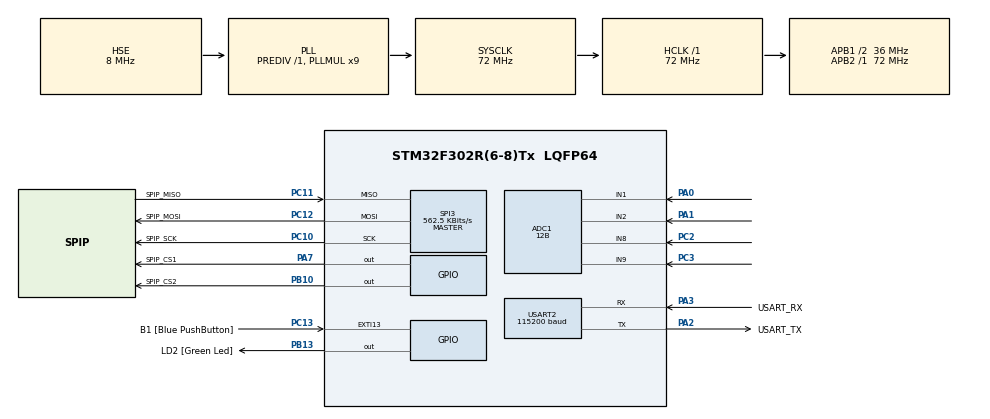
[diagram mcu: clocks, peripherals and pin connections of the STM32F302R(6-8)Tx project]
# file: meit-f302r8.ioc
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ADC1.Channel-6\#ChannelRegularConversion=ADC_CHANNEL_1
ADC1.Channel-7\#ChannelRegularConversion=ADC_CHANNEL_8
ADC1.ClockPrescaler=ADC_CLOCK_ASYNC_DIV1
ADC1.ContinuousConvMode=DISABLE
ADC1.DMAContinuousRequests=ENABLE
ADC1.EOCSelection=ADC_EOC_SINGLE_CONV
ADC1.EnableInjectedConversion=DISABLE
ADC1.EnableRegularConversion=ENABLE
ADC1.ExternalTrigConv=ADC_EXTERNALTRIGCONV_T6_TRGO
ADC1.ExternalTrigConvEdge=ADC_EXTERNALTRIGCONVEDGE_RISING
ADC1.NbrOfConversion=2
ADC1.NbrOfConversionFlag=1
ADC1.Offset-6\#ChannelRegularConversion=0
ADC1.Offset-7\#ChannelRegularConversion=0
ADC1.OffsetNumber-6\#ChannelRegularConversion=ADC_OFFSET_NONE
ADC1.OffsetNumber-7\#ChannelRegularConversion=ADC_OFFSET_NONE
ADC1.Overrun=ADC_OVR_DATA_PRESERVED
ADC1.Rank-6\#ChannelRegularConversion=1
ADC1.Rank-7\#ChannelRegularConversion=2
ADC1.Rank1_Channel=ADC_CHANNEL_1
ADC1.Resolution=ADC_RESOLUTION_12B
ADC1.SamplingTime-6\#ChannelRegularConversion=ADC_SAMPLETIME_1CYCLE_5
ADC1.SamplingTime-7\#ChannelRegularConversion=ADC_SAMPLETIME_1CYCLE_5
ADC1.SamplingTimeOPAMP-7\#ChannelRegularConversion=ADC_SAMPLETIME_61CYCLES_5
ADC1.SequencerNbRanks=2
ADC1.SingleDiff-6\#ChannelRegularConversion=ADC_DIFFERENTIAL_ENDED
ADC1.SingleDiff-7\#ChannelRegularConversion=ADC_DIFFERENTIAL_ENDED
ADC1.SubFamily=STM32F302x8
ADC1.master=1
Dma.ADC1.1.Direction=DMA_PERIPH_TO_MEMORY
Dma.ADC1.1.Instance=DMA1_Channel1
Dma.ADC1.1.MemDataAlignment=DMA_MDATAALIGN_WORD
Dma.ADC1.1.MemInc=DMA_MINC_ENABLE
Dma.ADC1.1.Mode=DMA_CIRCULAR
Dma.ADC1.1.PeriphDataAlignment=DMA_PDATAALIGN_HALFWORD
Dma.ADC1.1.PeriphInc=DMA_PINC_DISABLE
Dma.ADC1.1.Priority=DMA_PRIORITY_LOW
Dma.Request0=USART2_RX
Dma.Request1=ADC1
Dma.USART2_RX.0.Direction=DMA_PERIPH_TO_MEMORY
Dma.USART2_RX.0.Instance=DMA1_Channel6
Dma.USART2_RX.0.MemDataAlignment=DMA_MDATAALIGN_BYTE
Dma.USART2_RX.0.MemInc=DMA_MINC_ENABLE
Dma.USART2_RX.0.Mode=DMA_NORMAL
Dma.USART2_RX.0.PeriphDataAlignment=DMA_PDATAALIGN_BYTE
Dma.USART2_RX.0.PeriphInc=DMA_PINC_DISABLE
Dma.USART2_RX.0.Priority=DMA_PRIORITY_LOW
Mcu.Family=STM32F3
Mcu.Name=STM32F302R(6-8)Tx
Mcu.Package=LQFP64
NVIC.DMA1_Channel1_IRQn=true\:0\:0\:false\:false\:true\:false\:true\:true
NVIC.DMA1_Channel6_IRQn=true\:0\:0\:false\:false\:true\:false\:true\:true
NVIC.PriorityGroup=NVIC_PRIORITYGROUP_0
NVIC.USART2_IRQn=true\:0\:0\:false\:false\:true\:true\:true\:true
PA0.Mode=IN1-Differential
PA0.Signal=ADC1_IN1
PA1.Mode=IN1-Differential
PA1.Signal=ADC1_IN2
PA13.GPIO_Label=TMS
PA13.Mode=Serial_Wire
PA13.Signal=SYS_JTMS-SWDIO
PA14.GPIO_Label=TCK
PA14.Mode=Serial_Wire
PA14.Signal=SYS_JTCK-SWCLK
PA2.GPIO_Label=USART_TX
PA2.GPIO_Mode=GPIO_MODE_AF_PP
PA2.GPIO_PuPd=GPIO_NOPULL
PA2.GPIO_Speed=GPIO_SPEED_FREQ_LOW
PA2.Mode=Asynchronous
PA2.Signal=USART2_TX
PA3.GPIO_Label=USART_RX
PA3.GPIO_Mode=GPIO_MODE_AF_PP
PA3.GPIO_PuPd=GPIO_NOPULL
PA3.GPIO_Speed=GPIO_SPEED_FREQ_LOW
PA3.Mode=Asynchronous
PA3.Signal=USART2_RX
PA7.GPIO_Label=SPIP_CS1
PA7.Signal=GPIO_Output
PB10.GPIO_Label=SPIP_CS2
PB10.Signal=GPIO_Output
PB13.GPIO_Label=LD2 [Green Led]
PB13.Signal=GPIO_Output
PB3.GPIO_Label=SWO
PB3.Mode=Trace_Asynchronous_SW
PB3.Signal=SYS_JTDO-TRACESWO
PC10.GPIO_Label=SPIP_SCK
PC10.Mode=Full_Duplex_Master
PC10.Signal=SPI3_SCK
PC11.GPIO_Label=SPIP_MISO
PC11.Mode=Full_Duplex_Master
PC11.Signal=SPI3_MISO
PC12.GPIO_Label=SPIP_MOSI
PC12.Mode=Full_Duplex_Master
PC12.Signal=SPI3_MOSI
PC13.GPIO_Label=B1 [Blue PushButton]
PC13.GPIO_ModeDefaultEXTI=GPIO_MODE_IT_FALLING
PC13.Signal=GPXTI13
PC14\ -\ OSC32_IN.Mode=LSE-External-Oscillator
PC14\ -\ OSC32_IN.Signal=RCC_OSC32_IN
PC15\ -\ OSC32_OUT.Mode=LSE-External-Oscillator
PC15\ -\ OSC32_OUT.Signal=RCC_OSC32_OUT
PC2.Signal=ADCx_IN8
PC3.Signal=ADCx_IN9
PF0-OSC_IN.Mode=HSE-External-Clock-Source
PF0-OSC_IN.Signal=RCC_OSC_IN
PF1-OSC_OUT.Signal=RCC_OSC_OUT
ProjectManager.HeapSize=0x200
ProjectManager.StackSize=0x400
ProjectManager.TargetToolchain=Makefile
RCC.AHBFreq_Value=72000000
RCC.APB1CLKDivider=RCC_HCLK_DIV2
RCC.APB1Freq_Value=36000000
RCC.APB1TimFreq_Value=72000000
RCC.APB2Freq_Value=72000000
RCC.APB2TimFreq_Value=72000000
RCC.CortexFreq_Value=72000000
RCC.HCLKFreq_Value=72000000
RCC.HSE_VALUE=8000000
RCC.HSI_VALUE=8000000
RCC.PLLM=8
RCC.PLLMUL=RCC_PLL_MUL9
RCC.PLLN=336
RCC.PLLP=RCC_PLLP_DIV4
RCC.PLLQ=7
RCC.PLLSourceVirtual=RCC_PLLSOURCE_HSE
RCC.SYSCLKFreq_VALUE=72000000
RCC.SYSCLKSourceVirtual=RCC_SYSCLKSOURCE_PLLCLK
RCC.USBFreq_Value=72000000
SH.ADCx_IN8.0=ADC1_IN8,IN8-Differential
SH.ADCx_IN9.0=ADC1_IN9,IN8-Differential
SPI3.BaudRatePrescaler=SPI_BAUDRATEPRESCALER_64
SPI3.CLKPhase=SPI_PHASE_1EDGE
SPI3.CLKPolarity=SPI_POLARITY_HIGH
SPI3.CalculateBaudRate=562.5 KBits/s
SPI3.DataSize=SPI_DATASIZE_8BIT
SPI3.Direction=SPI_DIRECTION_2LINES
SPI3.Mode=SPI_MODE_MASTER
SPI3.NSSPMode=SPI_NSS_PULSE_DISABLE
SPI3.VirtualType=VM_MASTER
TIM6.AutoReloadPreload=TIM_AUTORELOAD_PRELOAD_ENABLE
TIM6.Period=28 - 1
TIM6.Prescaler=0
TIM6.TIM_MasterOutputTrigger=TIM_TRGO_UPDATE
USART2.BaudRate=115200
USART2.VirtualMode-Asynchronous=VM_ASYNC
VP_TIM6_VS_ClockSourceINT.Mode=Enable_Timer
board=NUCLEO-F302R8

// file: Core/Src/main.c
/* USER CODE BEGIN Header */
/**
  ******************************************************************************
  * @file           : main.c
  * @brief          : Main program body
  ******************************************************************************
  * @attention
  *
  * Copyright (c) 2024 STMicroelectronics.
  * All rights reserved.
  *
  * This software is licensed under terms that can be found in the LICENSE file
  * in the root directory of this software component.
  * If no LICENSE file comes with this software, it is provided AS-IS.
  *
  ******************************************************************************
  */
/* USER CODE END Header */
#include "main.h"
#include "adc.h"
#include "dma.h"
#include "spi.h"
#include "tim.h"
#include "usart.h"
#include "gpio.h"

/* USER CODE BEGIN Includes */
#include <string.h>
#include <stdio.h>
#include <stdlib.h>

#include "config.h"
#include "meit.h"
#include "mux.h"
#include "probe.h"
/* USER CODE END Includes */

/* USER CODE BEGIN PTD */
typedef enum
{
  TERM_CMD_NONE,
  TERM_CMD_UNKNOWN,

  TERM_CMD_SET,
  TERM_CMD_GET,

  TERM_CMD_FSAMPLING,

  TERM_CMD_MEASUREMENT,
  TERM_CMD_NEGATIVE,
  TERM_CMD_POSITIVE,
  TERM_CMD_REFERENCE,

  TERM_CMD_GAIN,
  TERM_CMD_INCREASE,
  TERM_CMD_DECREASE,

  TERM_CMD_CALIBRATION,
} TermCommand_Type;

typedef volatile struct
{
  TermCommand_Type action;    // GET or SET
  TermCommand_Type subject;   // The specific command
  // Optional argument, used for commands that require a numerical parameter
  uint32_t arg1;
  uint32_t arg2;
} TermHandlerFlag_Type;
/* USER CODE END PTD */

/* USER CODE BEGIN PD */
#define ADC_BUFFER_SIZE 1000
#define UART_RX_BUFFER_SIZE 40
#define PROBES_N 1
/* USER CODE END PD */

/* USER CODE BEGIN PV */
// main flags definition
// type should be volatile as they are accessed in interrupt callbacks
volatile uint32_t adc_buffer[ADC_BUFFER_SIZE];
volatile uint8_t adc_complete_flag = 0;

volatile uint8_t uart_buffer[UART_RX_BUFFER_SIZE];
TermHandlerFlag_Type term_handler_flag = {TERM_CMD_NONE, TERM_CMD_NONE, 0};

// meit modules declaration
Mux_TypeDef mux1;
Probe_TypeDef probes[PROBES_N];

// trecking currenty selected probe/probe with MEASUREMENT mode
extern int probe_mode_numbers[];

/* USER CODE END PV */

void SystemClock_Config(void);
/* USER CODE BEGIN PFP */
#ifdef LOG_SEMIHOSTING
extern void initialise_monitor_handles(void);
#endif

HAL_StatusTypeDef adc_read(void);
/* USER CODE END PFP */

int main(void)
{

  /* USER CODE BEGIN 1 */
#ifdef LOG_SEMIHOSTING
  // semihosting init
  initialise_monitor_handles();
#endif
  log("__________ System initializing... __________\n");
  /* USER CODE END 1 */

  /* MCU Configuration--------------------------------------------------------*/

  /* Reset of all peripherals, Initializes the Flash interface and the Systick. */
  HAL_Init();

  /* Configure the system clock */
  SystemClock_Config();

  /* Initialize all configured peripherals */
  MX_GPIO_Init();
  MX_DMA_Init();
  MX_SPI3_Init();
  MX_ADC1_Init();
  MX_USART2_UART_Init();
  MX_TIM6_Init();
  /* USER CODE BEGIN 2 */

  // multiplexer module initialization
  mux_init(&mux1, 0);
  // mux_select(&mux1, PROBE_MODE_MEASUREMENT, 0, PROBE_MODE_RESET);

  // probe initialization
  for (size_t i = 0; i < (sizeof(probes) / sizeof(probes[0])); i++)
  {
    probe_init(&probes[i], &hspi3, &mux1, i);
    // probe_error_print(&probes[i]);
  }

  // start the uart interface
  HAL_UARTEx_ReceiveToIdle_DMA(&huart2, (uint8_t *)uart_buffer, UART_RX_BUFFER_SIZE);
  HAL_TIM_Base_Start_IT(&htim6);

  // DEBUG
  probe_mode(&probes[0], PROBE_MODE_MEASUREMENT, PROBE_MODE_SET);
  // probe_gain_specific(&probes[0], PROBE_GAINSET_1, PROBE_RANGESET_20V);
  probe_gain(&probes[0], 14);

  log("__________ System initialized __________\n");
  /* USER CODE END 2 */

  /* Infinite loop */
  /* USER CODE BEGIN WHILE */
  while (1)
  {
    if (term_handler_flag.action != TERM_CMD_NONE)
    {
      // Buffer to hold each formatted adc value plus comma and possible null-terminator
      char txBuffer[UART_RX_BUFFER_SIZE];

      switch (term_handler_flag.action)
      {
        case TERM_CMD_SET:
          switch (term_handler_flag.subject)
          {
            case TERM_CMD_FSAMPLING:
              log("UART INPUT: SET FSAMPLING %ld\r\n", term_handler_flag.arg1);
              HAL_TIM_Base_Stop(&htim6);
              htim6.Instance->PSC = term_handler_flag.arg1;
            break;

            case TERM_CMD_MEASUREMENT:
              log("UART INPUT: SET MEASUREMENT\r\n");
              if (term_handler_flag.arg1 <= PROBES_N)
                probe_mode(&probes[term_handler_flag.arg1], PROBE_MODE_MEASUREMENT, PROBE_MODE_SET);
              else
                log("ERROR: Probe with number:%ld is out of reach\r\n", term_handler_flag.arg1);
            break;

            case TERM_CMD_NEGATIVE:
              log("UART INPUT: SET NEGATIVE\r\n");
              if (term_handler_flag.arg1 <= PROBES_N)
                probe_mode(&probes[term_handler_flag.arg1], PROBE_MODE_CURRENT_NEGATIVE, PROBE_MODE_SET);
              else
                log("ERROR: Probe with number:%ld is out of reach\r\n", term_handler_flag.arg1);
            break;

            case TERM_CMD_POSITIVE:
              log("UART INPUT: SET POSITIVE\r\n");
              if (term_handler_flag.arg1 <= PROBES_N)
                probe_mode(&probes[term_handler_flag.arg1], PROBE_MODE_CURRENT_POSITIVE, PROBE_MODE_SET);
              else
                log("ERROR: Probe with number:%ld is out of reach\r\n", term_handler_flag.arg1);
            break;

            case TERM_CMD_REFERENCE:
              log("UART INPUT: SET REFERENCE\r\n");
              if (term_handler_flag.arg1 <= PROBES_N)
                probe_mode(&probes[term_handler_flag.arg1], PROBE_MODE_REFERENCE, PROBE_MODE_SET);
              else
                log("ERROR: Probe with number:%ld is out of reach\r\n", term_handler_flag.arg1);
            break;

            case TERM_CMD_GAIN:
              log("UART INPUT: SET GAIN\r\n");
              if(probe_mode_numbers[PROBE_MODE_MEASUREMENT] < 0)
                log("ERROR: No probe in MEASUREMENT mode.\r\n");
              else
                probe_gain(&probes[probe_mode_numbers[PROBE_MODE_MEASUREMENT]], term_handler_flag.arg1);
            break;

            case TERM_CMD_INCREASE:
              log("UART INPUT: SET INCREASE\r\n");
              if(probe_mode_numbers[PROBE_MODE_MEASUREMENT] < 0)
                log("ERROR: No probe in MEASUREMENT mode.\r\n");
              else
                probe_gain_increase(&probes[probe_mode_numbers[PROBE_MODE_MEASUREMENT]]);
            break;

            case TERM_CMD_DECREASE:
              log("UART INPUT: SET DECREASE\r\n");
              if(probe_mode_numbers[PROBE_MODE_MEASUREMENT] < 0)
                log("ERROR: No probe in MEASUREMENT mode.\r\n");
              else
                probe_gain_decrease(&probes[probe_mode_numbers[PROBE_MODE_MEASUREMENT]]);
            break;

            case TERM_CMD_CALIBRATION:
              log("UART INPUT: SET CALIBRATION\r\n");
              if(probe_mode_numbers[PROBE_MODE_MEASUREMENT] < 0)
                log("ERROR: No probe in MEASUREMENT mode.\r\n");
              else if (term_handler_flag.arg1 >= (2^8))
                log("ERROR: Probe gain index:%ld is out of reach\r\n", term_handler_flag.arg1);
              else
                probe_calibrate(&probes[probe_mode_numbers[PROBE_MODE_MEASUREMENT]], (float)term_handler_flag.arg2, term_handler_flag.arg1);
            break;

            default:
              log("UART ERROR: Unknown Command\r\n");
            break;
          }
          break;

        case TERM_CMD_GET:
          switch (term_handler_flag.subject)
          {
            case TERM_CMD_FSAMPLING:
              log("UART INPUT: GET FSAMPLING\r\n");

              // Calculate ADC sampling frequency, ADC is triggered by Timer 6
              // uint32_t adcSamplingFreq = HAL_RCC_GetPCLK1Freq() / (TIM6->PSC + 1) / (TIM6->ARR + 1);
              uint8_t n_chanels = 2;
              float clock = (float)HAL_RCC_GetPCLK1Freq() * 2.0f;
              float adcSamplingFreq = clock / (float)((1.5f + 12.5f) * (TIM6->PSC + 1) * (TIM6->ARR + 1) * n_chanels);
              // Format ADC values
              sprintf(txBuffer, "%0.4f", adcSamplingFreq);

              if (HAL_UART_Transmit(&huart2, (uint8_t*)txBuffer, strlen(txBuffer), 10) != HAL_OK)
                log("ERROR: UART Can't transmit\r\n");

              txBuffer[0] = '\n';
              if (HAL_UART_Transmit(&huart2, (uint8_t*)txBuffer, sizeof(char), 10) != HAL_OK)
                log("ERROR: UART Can't transmite\r\n");
            break;

            case TERM_CMD_MEASUREMENT:
              log("UART INPUT: GET VOLTAGE\r\n");
              if (adc_read() != HAL_OK) break;

              for (size_t i = 0; i < ADC_BUFFER_SIZE; i++)
              {
                float voltage;
                float current;
                uint8_t separator = ',';
                if(i % 2 == 0)
                {
                  // voltage values on first ADC channel
                  voltage = probe_voltage(&probes[0], adc_buffer[i]);
                  // Format ADC values
                  sprintf(txBuffer, "%f", voltage);
                }
                else
                {
                  // current values on second ADC channel
                  // Format ADC values
                  current = (float)((3.3f * (adc_buffer[i] / 4096.0f) - 1.65f));
                  sprintf(txBuffer, "%f", current);
                }
                // Transmit formatted data
                if (HAL_UART_Transmit(&huart2, (uint8_t*)txBuffer, strlen(txBuffer), 10) != HAL_OK)
                  log("ERROR: UART Can't transmit adc value\r\n");
                // Transmit separator
                if (i != ADC_BUFFER_SIZE - 1)
                {
                  if (HAL_UART_Transmit(&huart2, &separator, sizeof(uint8_t), 10) != HAL_OK)
                    log("ERROR: UART Can't transmit adc value\r\n");
                }
              }

              txBuffer[0] = '\n';
              if (HAL_UART_Transmit(&huart2, (uint8_t*)txBuffer, sizeof(char), 10) != HAL_OK)
                log("ERROR: UART Can't transmit adc value\r\n");

            break;

            default:
              log("UART ERROR: Unknown Command\r\n");
            break;
          }
          break;

        default:
          log("Unknown Command");
          break;
      }

      // Restart the reception for the next command
      term_handler_flag.action = TERM_CMD_NONE;
      HAL_UARTEx_ReceiveToIdle_DMA(&huart2, (uint8_t *)uart_buffer, UART_RX_BUFFER_SIZE);
      __HAL_DMA_DISABLE_IT(&hdma_usart2_rx, DMA_IT_HT);
    }

/*
    HAL_Delay(100);

    for (uint8_t i = 0; i < 4; i++)
    {
      // turn on mounted leds one by one
      probe_mode(&probes[0], i);
      HAL_Delay(200);
    }

    uint32_t delay = 1000;
    uint32_t list_errors = 0;
    probe_mode(&probes[0], PROBE_MODE_MEASUREMENT);
    probe_error_print(&probes[0]);

    log("\n");
    log("INFO: swithing all ranges of probe:%d\n", probes[0].number);
    HAL_Delay(delay);

    // PROBE_RANGE_13V,
    // PROBE_RANGE_15V,
    // PROBE_RANGE_17V,
    // PROBE_RANGE_20V,
    // PROBE_RANGE_25V,
    // PROBE_RANGE_33V,
    // PROBE_RANGE_48V,
    for (size_t i = 8; i > 0; i--)
    {
      probe_gain_specific(&probes[0], PROBE_GAIN_1, i);
      log("   INFO: probe:%d range = %d\n", probes[0].number, probes[0].range);
      if(list_errors) probe_error_print(&probes[0]);
      HAL_Delay(delay);
    }

    // PROBE_GAIN_0125 = 0,
    // PROBE_GAIN_025,
    // PROBE_GAIN_05,
    // PROBE_GAIN_1,
    // PROBE_GAIN_2,
    // PROBE_GAIN_4,
    // PROBE_GAIN_8,
    // PROBE_GAIN_16,
    // PROBE_GAIN_32,
    // PROBE_GAIN_64,
    // PROBE_GAIN_128,
    log("INFO: swithing all gains of probe:%d\n", probes[0].number);
    for (size_t i = 0; i < 11; i++)
    {
      probe_gain_specific(&probes[0], i, PROBE_RANGE_13V);
      log("   INFO: probe:%d gain = %d\n", probes[0].number, probes[0].gain);
      if(list_errors) probe_error_print(&probes[0]);
      HAL_Delay(delay);
    }
*/
    /* USER CODE END WHILE */

  }
}

void SystemClock_Config(void)
{
  RCC_OscInitTypeDef RCC_OscInitStruct = {0};
  RCC_ClkInitTypeDef RCC_ClkInitStruct = {0};
  RCC_PeriphCLKInitTypeDef PeriphClkInit = {0};

  /** Initializes the RCC Oscillators according to the specified parameters
  * in the RCC_OscInitTypeDef structure.
  */
  RCC_OscInitStruct.OscillatorType = RCC_OSCILLATORTYPE_HSE;
  RCC_OscInitStruct.HSEState = RCC_HSE_BYPASS;
  RCC_OscInitStruct.HSEPredivValue = RCC_HSE_PREDIV_DIV1;
  RCC_OscInitStruct.HSIState = RCC_HSI_ON;
  RCC_OscInitStruct.PLL.PLLState = RCC_PLL_ON;
  RCC_OscInitStruct.PLL.PLLSource = RCC_PLLSOURCE_HSE;
  RCC_OscInitStruct.PLL.PLLMUL = RCC_PLL_MUL9;
  if (HAL_RCC_OscConfig(&RCC_OscInitStruct) != HAL_OK)
  {
    Error_Handler();
  }

  /** Initializes the CPU, AHB and APB buses clocks
  */
  RCC_ClkInitStruct.ClockType = RCC_CLOCKTYPE_HCLK|RCC_CLOCKTYPE_SYSCLK
                              |RCC_CLOCKTYPE_PCLK1|RCC_CLOCKTYPE_PCLK2;
  RCC_ClkInitStruct.SYSCLKSource = RCC_SYSCLKSOURCE_PLLCLK;
  RCC_ClkInitStruct.AHBCLKDivider = RCC_SYSCLK_DIV1;
  RCC_ClkInitStruct.APB1CLKDivider = RCC_HCLK_DIV2;
  RCC_ClkInitStruct.APB2CLKDivider = RCC_HCLK_DIV1;

  if (HAL_RCC_ClockConfig(&RCC_ClkInitStruct, FLASH_LATENCY_2) != HAL_OK)
  {
    Error_Handler();
  }
  PeriphClkInit.PeriphClockSelection = RCC_PERIPHCLK_ADC1;
  PeriphClkInit.Adc1ClockSelection = RCC_ADC1PLLCLK_DIV1;

  if (HAL_RCCEx_PeriphCLKConfig(&PeriphClkInit) != HAL_OK)
  {
    Error_Handler();
  }
}

/* USER CODE BEGIN 4 */
void HAL_ADC_ConvCpltCallback(ADC_HandleTypeDef* hadc)
{
  // stop DMA channel when ADC conversion completed
  HAL_ADC_Stop_DMA(hadc);
  // timer 6 stop for ADC triggering
  HAL_TIM_Base_Stop(&htim6);
  // update flag, conversion complete indication
  adc_complete_flag = 1;
}

HAL_StatusTypeDef adc_read(void)
{
  HAL_StatusTypeDef hal_status = HAL_OK;
  // start ADC conversion utilizing DMA
  adc_complete_flag = 0;
  // timer 6 start for ADC triggering
  hal_status = HAL_TIM_Base_Start(&htim6);
  hal_status = HAL_ADC_Start_DMA(&hadc1, (uint32_t *)adc_buffer, ADC_BUFFER_SIZE);
  if (hal_status != HAL_OK)
  {
    log("ERROR: HAL ERROR while staring ADC + DMA conversion\r\n");
    return hal_status;
  }

  // wait until the ADC buffer is filled or timeout occurs, timeout is in ms
  size_t timeout = 100 * (htim6.Instance->PSC + 1);
  int i;
  for (i = 0; i < timeout; i++)
  {
    if (adc_complete_flag == 1)
      break;
    HAL_Delay(1);
  }
  if (i == timeout)
  {
    log("ERROR: ADC buffer not filled, timeout occurs\r\n");
    return HAL_ERROR;
  }

  return hal_status;
}

TermCommand_Type term_get_command_enum(const char* command)
{
  if (strcmp(command, "SET") == 0) return TERM_CMD_SET;
  if (strcmp(command, "GET") == 0) return TERM_CMD_GET;

  if (strcmp(command, "FSAMPLING") == 0) return TERM_CMD_FSAMPLING;

  if (strcmp(command, "MEASUREMENT") == 0) return TERM_CMD_MEASUREMENT;
  if (strcmp(command, "NEGATIVE") == 0) return TERM_CMD_NEGATIVE;
  if (strcmp(command, "POSITIVE") == 0) return TERM_CMD_POSITIVE;
  if (strcmp(command, "REFERENCE") == 0) return TERM_CMD_REFERENCE;

  if (strcmp(command, "GAIN") == 0) return TERM_CMD_GAIN;
  if (strcmp(command, "INCREASE") == 0) return TERM_CMD_INCREASE;
  if (strcmp(command, "DECREASE") == 0) return TERM_CMD_DECREASE;

  if (strcmp(command, "CALIBRATION") == 0) return TERM_CMD_CALIBRATION;
  return TERM_CMD_UNKNOWN;
}

TermHandlerFlag_Type parse_input_command(const char *input)
{
  TermHandlerFlag_Type command = {TERM_CMD_UNKNOWN, TERM_CMD_UNKNOWN, 0};

  // copy inpout content to
  char buffer[UART_RX_BUFFER_SIZE];
  strncpy(buffer, input, sizeof(buffer));
  // ensure null-termination
  buffer[sizeof(buffer) - 1] = '\0';

  // tokenize the input string to separate the command parts
  // first token should be SET or GET, or it could be a special command like HELP
  char *token = strtok(buffer, " \r\n");
  if (token == NULL) return command;
  command.action = term_get_command_enum(token);
  if (command.action == TERM_CMD_UNKNOWN) return command;

  // get the next part of the command
  token = strtok(NULL, " \r\n");
  if (token == NULL) return command;
  command.subject = term_get_command_enum(token);
  if (command.subject == TERM_CMD_UNKNOWN) return command;

  // If the next token is a number
  token = strtok(NULL, " \r\n");
  if (token == NULL) return command;
  command.arg1 = (uint32_t)atoi(token);

  // If the next token is a number
  token = strtok(NULL, " \r\n");
  if (token == NULL) return command;
  command.arg2 = (float)atof(token);

  return command;
}

void HAL_UARTEx_RxEventCallback(UART_HandleTypeDef *huart, uint16_t Size)
{
  if (huart->Instance == USART2)
  {
    // Parse the buffer
    term_handler_flag = parse_input_command((char *)uart_buffer);
  }
}

/* USER CODE END 4 */

void Error_Handler(void)
{
  __disable_irq();
  while (1)
  {
  }
}

#ifdef  USE_FULL_ASSERT
/**
  * @brief  Reports the name of the source file and the source line number
  *         where the assert_param error has occurred.
  * @param  file: pointer to the source file name
  * @param  line: assert_param error line source number
  * @retval None
  */
void assert_failed(uint8_t *file, uint32_t line)
{
  /* USER CODE BEGIN 6 */
  /* User can add his own implementation to report the file name and line number,
     ex: printf("Wrong parameters value: file %s on line %d\r\n", file, line) */
  log("Wrong parameters value: file %s on line %ld\r\n", file, line);
  /* USER CODE END 6 */
}
#endif /* USE_FULL_ASSERT */
